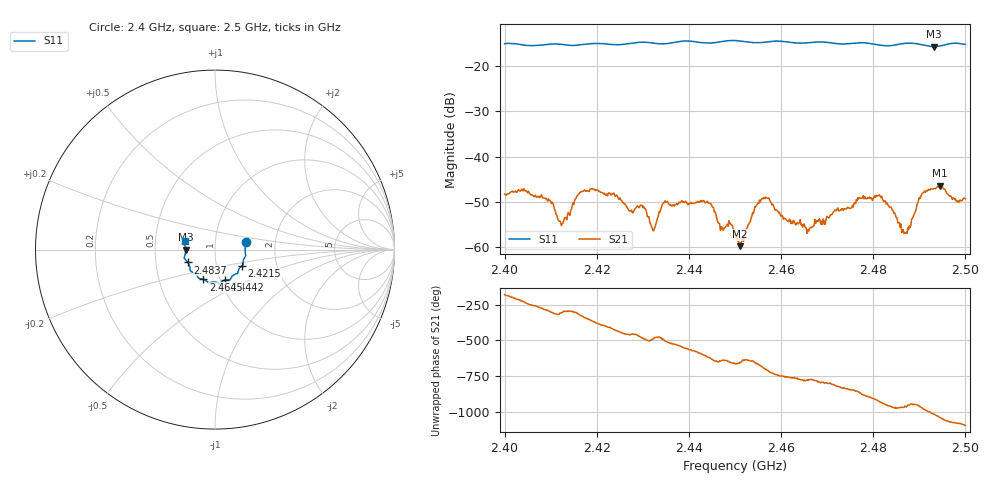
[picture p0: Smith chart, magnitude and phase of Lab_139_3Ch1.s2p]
# Hz S RI R 50
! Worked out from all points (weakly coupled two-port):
!   601 points, 2.4 GHz to 2.5 GHz, reference 50 ohm
!   highest |S21| = -46.41 dB at 2.4945 GHz (marker M1); lowest = -59.7 dB at 2.451 GHz (marker M2)
!   lowest |S11| = -15.7 dB at 2.4932 GHz (marker M3), VSWR 1.39, Z = 35.9 - j0.0509 ohm
!   |S11| at or under -10 dB: start of sweep to end of sweep
!   S12 and S22 are empty: the file has one direction only
!   S11 on the Smith chart (normalised r, x): 2.4 GHz: 1.41, +0.12; 2.4215 GHz: 1.33, -0.25; 2.4442 GHz: 1.05, -0.37; 2.4645 GHz: 0.83, -0.29; 2.4837 GHz: 0.73, -0.11; 2.5 GHz: 0.71, +0.07
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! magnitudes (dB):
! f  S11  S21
! 2.4 GHz  -15.1  -48.2
! 2.4085 GHz  -15.4  -49.1
! 2.4123 GHz  -15.2  -55.2
! 2.4167 GHz  -15.3  -47.6
! 2.4215 GHz  -15.1  -48.2
! 2.43 GHz  -14.8  -51.2
! 2.4322 GHz  -15.0  -56.2
! 2.4333 GHz  -15.1  -53.3
! 2.4442 GHz  -15.0  -50.3
! 2.45 GHz  -14.4  -57.1
! 2.451 GHz  -14.5  -59.7
! 2.4563 GHz  -14.8  -49.0
! 2.4645 GHz  -15.0  -54.9
! 2.4667 GHz  -14.8  -55.7
! 2.4773 GHz  -14.9  -49.2
! 2.4833 GHz  -15.6  -50.8
! 2.4837 GHz  -15.5  -51.2
! 2.4872 GHz  -15.0  -56.7
! 2.4905 GHz  -15.3  -48.3
! 2.4932 GHz  -15.7  -47.0
! 2.4945 GHz  -15.6  -46.4
! 2.5 GHz  -15.2  -49.3
